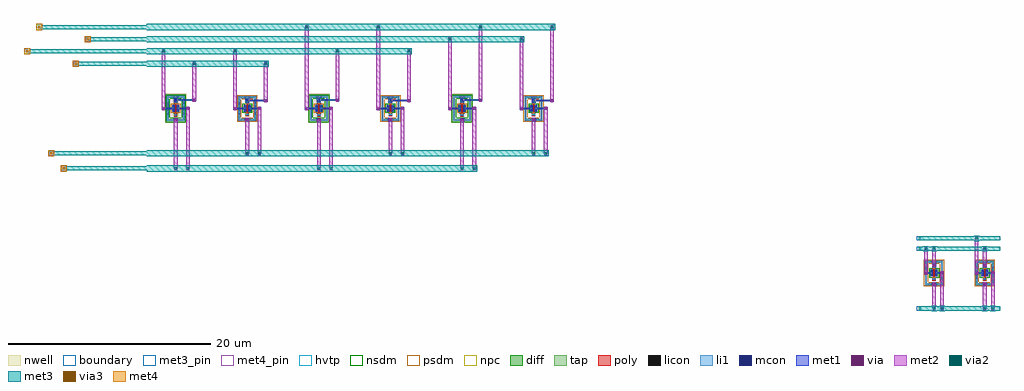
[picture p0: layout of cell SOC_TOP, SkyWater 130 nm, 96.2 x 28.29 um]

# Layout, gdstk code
import gdstk
lib = gdstk.Library(unit=1e-6, precision=1e-09)
def R(c, l, rs):  # rectangles x0, y0, x1, y1
    for r in rs: c.add(gdstk.rectangle(r[:2], r[2:], *l))
def A(c, l, x, y, w, h, nx, ny, dx, dy):  # array of equal rectangles
    R(c, l, [(x+i*dx, y+j*dy, x+i*dx+w, y+j*dy+h) for i in range(nx) for j in range(ny)])
def P(c, l, *ps):  # polygons
    for p in ps: c.add(gdstk.Polygon(p, *l))
nwell = (64, 20)
diff = (65, 20)
tap = (65, 44)
poly = (66, 20)
licon = (66, 44)
li1 = (67, 20)
mcon = (67, 44)
met1 = (68, 20)
via = (68, 44)
met2 = (69, 20)
via2 = (69, 44)
met3_pin = (70, 16)
met3 = (70, 20)
via3 = (70, 44)
met4_pin = (71, 16)
met4 = (71, 20)
hvtp = (78, 44)
nsdm = (93, 44)
psdm = (94, 20)
npc = (95, 20)
boundary = (235, 4)

analog_current_mirror = lib.new_cell('ANALOG_current_mirror')
R(analog_current_mirror, diff, [(-0.365,-0.325,0.365,0.325), (4.635,-0.325,5.365,0.325)])
R(analog_current_mirror, tap, [(-0.875,-1.195,0.875,-1.025), (4.125,-1.195,5.875,-1.025), (-0.875,-1.025,-0.705,1.025), (0.705,-1.025,0.875,1.025), (4.125,-1.025,4.295,1.025), (5.705,-1.025,5.875,1.025), (-0.875,1.025,0.875,1.195), (4.125,1.025,5.875,1.195)])
R(analog_current_mirror, poly, [(-0.165,-0.765,0.165,-0.435), (4.835,-0.765,5.165,-0.435), (-0.075,-0.435,0.075,0.435), (4.925,-0.435,5.075,0.435), (-0.165,0.435,0.165,0.765), (4.835,0.435,5.165,0.765)])
A(analog_current_mirror, licon, -0.875, -0.595, 0.17, 0.17, 1, 4, 0, 0.34)
A(analog_current_mirror, licon, 0.705, -0.595, 0.17, 0.17, 1, 4, 0, 0.34)
A(analog_current_mirror, licon, 4.125, -0.595, 0.17, 0.17, 1, 4, 0, 0.34)
A(analog_current_mirror, licon, 5.705, -0.595, 0.17, 0.17, 1, 4, 0, 0.34)
R(analog_current_mirror, licon, [(-0.255,-1.195,-0.085,-1.025), (0.085,-1.195,0.255,-1.025), (4.745,-1.195,4.915,-1.025), (5.085,-1.195,5.255,-1.025), (-0.085,-0.685,0.085,-0.515), (4.915,-0.685,5.085,-0.515), (-0.305,-0.255,-0.135,-0.085), (0.135,-0.255,0.305,-0.085), (4.695,-0.255,4.865,-0.085), (5.135,-0.255,5.305,-0.085), (-0.305,0.085,-0.135,0.255), (0.135,0.085,0.305,0.255), (4.695,0.085,4.865,0.255), (5.135,0.085,5.305,0.255), (-0.085,0.515,0.085,0.685), (4.915,0.515,5.085,0.685), (-0.255,1.025,-0.085,1.195), (0.085,1.025,0.255,1.195), (4.745,1.025,4.915,1.195), (5.085,1.025,5.255,1.195)])
R(analog_current_mirror, li1, [(-0.875,-1.195,0.875,-1.025), (4.125,-1.195,5.875,-1.025), (-0.875,-1.025,-0.705,1.025), (0.705,-1.025,0.875,1.025), (4.125,-1.025,4.295,1.025), (5.705,-1.025,5.875,1.025), (-0.165,-0.685,0.165,-0.515), (4.835,-0.685,5.165,-0.515), (-0.305,-0.345,-0.135,0.345), (0.135,-0.345,0.305,0.345), (4.695,-0.345,4.865,0.345), (5.135,-0.345,5.305,0.345), (-0.165,0.515,0.165,0.685), (-0.085,0.515,0.085,0.855), (4.835,0.515,5.165,0.685), (4.915,0.515,5.085,0.855), (-0.875,1.025,0.875,1.195), (4.125,1.025,5.875,1.195)])
R(analog_current_mirror, mcon, [(-0.085,-1.195,0.085,-1.025), (4.915,-1.195,5.085,-1.025), (-0.305,-0.265,-0.135,-0.095), (0.135,-0.265,0.305,-0.095), (4.695,-0.265,4.865,-0.095), (5.135,-0.265,5.305,-0.095), (-0.305,0.095,-0.135,0.265), (0.135,0.095,0.305,0.265), (4.695,0.095,4.865,0.265), (5.135,0.095,5.305,0.265), (-0.085,0.685,0.085,0.855), (4.915,0.685,5.085,0.855)])
R(analog_current_mirror, met1, [(-0.2,-1.31,0.2,-0.91), (4.8,-1.31,5.2,-0.91), (-0.18,-1.24,0.18,-0.98), (4.82,-1.24,5.18,-0.98), (-0.335,-0.325,-0.105,0.325), (0.105,-0.325,0.335,0.325), (4.665,-0.325,4.895,0.325), (5.105,-0.325,5.335,0.325), (-0.98,-0.13,-0.62,0.13), (0.62,-0.13,0.98,0.13), (4.02,-0.13,4.38,0.13), (5.62,-0.13,5.98,0.13), (-0.8,-0.085,-0.22,0.085), (0.22,-0.085,0.8,0.085), (4.2,-0.085,4.78,0.085), (5.22,-0.085,5.8,0.085), (-0.2,0.57,0.2,0.97), (4.8,0.57,5.2,0.97), (-0.18,0.64,0.18,0.9), (4.82,0.64,5.18,0.9)])
R(analog_current_mirror, via, [(-0.075,-1.185,0.075,-1.035), (4.925,-1.185,5.075,-1.035), (-0.875,-0.075,-0.725,0.075), (0.725,-0.075,0.875,0.075), (4.125,-0.075,4.275,0.075), (5.725,-0.075,5.875,0.075), (-0.075,0.695,0.075,0.845), (4.925,0.695,5.075,0.845)])
R(analog_current_mirror, met2, [(-0.14,-3.69,0.14,-3.31), (0.66,-3.69,0.94,-3.31), (4.86,-3.69,5.14,-3.31), (5.66,-3.69,5.94,-3.31), (-0.18,-3.5,0.18,-1.11), (0.62,-3.5,0.98,0), (4.82,-3.5,5.18,-1.11), (5.62,-3.5,5.98,0), (-0.13,-1.29,0.13,-0.93), (4.87,-1.29,5.13,-0.93), (-0.93,-0.18,-0.67,0.18), (0.67,-0.18,0.93,0.18), (4.07,-0.18,4.33,0.18), (5.67,-0.18,5.93,0.18), (-0.98,0,-0.62,2.4), (4.02,0,4.38,3.4), (-0.13,0.59,0.13,0.95), (4.87,0.59,5.13,0.95), (-0.18,0.77,0.18,2.4), (4.82,0.77,5.18,2.4), (-0.94,2.21,-0.66,2.59), (-0.14,2.21,0.14,2.59), (4.86,2.21,5.14,2.59), (4.06,3.21,4.34,3.59)])
R(analog_current_mirror, via2, [(-0.1,-3.6,0.1,-3.4), (0.7,-3.6,0.9,-3.4), (4.9,-3.6,5.1,-3.4), (5.7,-3.6,5.9,-3.4), (-0.9,2.3,-0.7,2.5), (-0.1,2.3,0.1,2.5), (4.9,2.3,5.1,2.5), (4.1,3.3,4.3,3.5)])
R(analog_current_mirror, met3_pin, [(-1.7,-3.7,-1.3,-3.3), (-1.7,2.2,-1.3,2.6), (-1.7,3.2,-1.3,3.6)])
R(analog_current_mirror, met3, [(-0.25,-3.75,0.25,-3.25), (0.55,-3.75,1.05,-3.25), (4.75,-3.75,5.25,-3.25), (5.55,-3.75,6.05,-3.25), (-1.5,-3.7,6.5,-3.3), (-1.05,2.15,-0.55,2.65), (-0.25,2.15,0.25,2.65), (4.75,2.15,5.25,2.65), (-1.5,2.2,6.5,2.6), (3.95,3.15,4.45,3.65), (-1.5,3.2,6.5,3.6)])
R(analog_current_mirror, nsdm, [(-0.49,-0.45,0.49,0.45), (4.51,-0.45,5.49,0.45)])
R(analog_current_mirror, psdm, [(-1,-1.32,1,-0.9), (4,-1.32,6,-0.9), (-1,-0.9,-0.58,0.9), (0.58,-0.9,1,0.9), (4,-0.9,4.42,0.9), (5.58,-0.9,6,0.9), (-1,0.9,1,1.32), (4,0.9,6,1.32)])
R(analog_current_mirror, npc, [(-0.185,-0.785,0.185,-0.415), (4.815,-0.785,5.185,-0.415), (-0.185,0.415,0.185,0.785), (4.815,0.415,5.185,0.785)])
R(analog_current_mirror, boundary, [(-0.79,-1.11,0.79,1.11), (4.21,-1.11,5.79,1.11)])
analog_current_mirror.add(gdstk.Label('VGND', (0,-1.11), layer=67, texttype=5))
analog_current_mirror.add(gdstk.Label('VGND', (0.22,0), layer=67, texttype=5))
analog_current_mirror.add(gdstk.Label('REF', (-0.22,0), layer=67, texttype=5))
analog_current_mirror.add(gdstk.Label('OUT', (4.78,0), layer=67, texttype=5))
analog_current_mirror.add(gdstk.Label('REF', (0,0.6), layer=67, texttype=5))
analog_current_mirror.add(gdstk.Label('VGND', (5.22,0), layer=67, texttype=5))
analog_current_mirror.add(gdstk.Label('VGND', (5,-1.11), layer=67, texttype=5))
analog_current_mirror.add(gdstk.Label('REF', (5,0.6), layer=67, texttype=5))
analog_current_mirror.add(gdstk.Label('REF', (-1.5,2.4), layer=70, texttype=5))
analog_current_mirror.add(gdstk.Label('OUT', (-1.5,3.4), layer=70, texttype=5))
analog_current_mirror.add(gdstk.Label('VGND', (-1.5,-3.5), layer=70, texttype=5))

digital_logic_inv = lib.new_cell('DIGITAL_logic_inv')
A(digital_logic_inv, nwell, 24.2, 14.8, 2.11, 2.84, 3, 1, 14.11, 0)
A(digital_logic_inv, diff, 24.89, 15.895, 0.73, 0.65, 6, 1, 7.055, 0)
A(digital_logic_inv, tap, 24.38, 14.98, 1.75, 0.17, 3, 2, 14.11, 2.31)
A(digital_logic_inv, tap, 31.435, 15.025, 1.75, 0.17, 3, 2, 14.11, 2.22)
R(digital_logic_inv, tap, [(24.38,15.15,24.55,17.29), (25.96,15.15,26.13,17.29), (38.49,15.15,38.66,17.29), (40.07,15.15,40.24,17.29), (52.6,15.15,52.77,17.29), (54.18,15.15,54.35,17.29), (31.435,15.195,31.605,17.245), (33.015,15.195,33.185,17.245), (45.545,15.195,45.715,17.245), (47.125,15.195,47.295,17.245), (59.655,15.195,59.825,17.245), (61.235,15.195,61.405,17.245)])
A(digital_logic_inv, poly, 25.09, 15.41, 0.33, 0.33, 3, 2, 14.11, 1.29)
A(digital_logic_inv, poly, 32.145, 15.455, 0.33, 0.33, 3, 2, 14.11, 1.2)
A(digital_logic_inv, poly, 25.18, 15.74, 0.15, 0.96, 3, 1, 14.11, 0)
A(digital_logic_inv, poly, 32.235, 15.785, 0.15, 0.87, 3, 1, 14.11, 0)
A(digital_logic_inv, licon, 25.17, 15.49, 0.17, 0.17, 3, 2, 14.11, 1.29)
A(digital_logic_inv, licon, 32.225, 15.535, 0.17, 0.17, 3, 2, 14.11, 1.2)
A(digital_logic_inv, licon, 24.38, 15.625, 0.17, 0.17, 1, 4, 0, 0.34)
A(digital_logic_inv, licon, 25.96, 15.625, 0.17, 0.17, 1, 4, 0, 0.34)
A(digital_logic_inv, licon, 31.435, 15.625, 0.17, 0.17, 1, 4, 0, 0.34)
A(digital_logic_inv, licon, 33.015, 15.625, 0.17, 0.17, 1, 4, 0, 0.34)
A(digital_logic_inv, licon, 38.49, 15.625, 0.17, 0.17, 1, 4, 0, 0.34)
A(digital_logic_inv, licon, 40.07, 15.625, 0.17, 0.17, 1, 4, 0, 0.34)
A(digital_logic_inv, licon, 45.545, 15.625, 0.17, 0.17, 1, 4, 0, 0.34)
A(digital_logic_inv, licon, 47.125, 15.625, 0.17, 0.17, 1, 4, 0, 0.34)
A(digital_logic_inv, licon, 52.6, 15.625, 0.17, 0.17, 1, 4, 0, 0.34)
A(digital_logic_inv, licon, 54.18, 15.625, 0.17, 0.17, 1, 4, 0, 0.34)
A(digital_logic_inv, licon, 59.655, 15.625, 0.17, 0.17, 1, 4, 0, 0.34)
A(digital_logic_inv, licon, 61.235, 15.625, 0.17, 0.17, 1, 4, 0, 0.34)
R(digital_logic_inv, licon, [(25,14.98,25.17,15.15), (25.34,14.98,25.51,15.15), (39.11,14.98,39.28,15.15), (39.45,14.98,39.62,15.15), (53.22,14.98,53.39,15.15), (53.56,14.98,53.73,15.15), (32.055,15.025,32.225,15.195), (32.395,15.025,32.565,15.195), (46.165,15.025,46.335,15.195), (46.505,15.025,46.675,15.195), (60.275,15.025,60.445,15.195), (60.615,15.025,60.785,15.195), (24.95,15.965,25.12,16.135), (25.39,15.965,25.56,16.135), (32.005,15.965,32.175,16.135), (32.445,15.965,32.615,16.135), (39.06,15.965,39.23,16.135), (39.5,15.965,39.67,16.135), (46.115,15.965,46.285,16.135), (46.555,15.965,46.725,16.135), (53.17,15.965,53.34,16.135), (53.61,15.965,53.78,16.135), (60.225,15.965,60.395,16.135), (60.665,15.965,60.835,16.135), (24.95,16.305,25.12,16.475), (25.39,16.305,25.56,16.475), (32.005,16.305,32.175,16.475), (32.445,16.305,32.615,16.475), (39.06,16.305,39.23,16.475), (39.5,16.305,39.67,16.475), (46.115,16.305,46.285,16.475), (46.555,16.305,46.725,16.475), (53.17,16.305,53.34,16.475), (53.61,16.305,53.78,16.475), (60.225,16.305,60.395,16.475), (60.665,16.305,60.835,16.475), (32.055,17.245,32.225,17.415), (32.395,17.245,32.565,17.415), (46.165,17.245,46.335,17.415), (46.505,17.245,46.675,17.415), (60.275,17.245,60.445,17.415), (60.615,17.245,60.785,17.415), (25,17.29,25.17,17.46), (25.34,17.29,25.51,17.46), (39.11,17.29,39.28,17.46), (39.45,17.29,39.62,17.46), (53.22,17.29,53.39,17.46), (53.56,17.29,53.73,17.46)])
A(digital_logic_inv, li1, 24.38, 14.98, 1.75, 0.17, 3, 2, 14.11, 2.31)
A(digital_logic_inv, li1, 31.435, 15.025, 1.75, 0.17, 3, 2, 14.11, 2.22)
A(digital_logic_inv, li1, 25.09, 15.49, 0.33, 0.17, 3, 2, 14.11, 1.29)
A(digital_logic_inv, li1, 32.145, 15.535, 0.33, 0.17, 3, 2, 14.11, 1.2)
A(digital_logic_inv, li1, 32.225, 16.735, 0.17, 0.34, 3, 1, 14.11, 0)
A(digital_logic_inv, li1, 25.17, 16.78, 0.17, 0.34, 3, 1, 14.11, 0)
R(digital_logic_inv, li1, [(24.38,15.15,24.55,17.29), (25.96,15.15,26.13,17.29), (38.49,15.15,38.66,17.29), (40.07,15.15,40.24,17.29), (52.6,15.15,52.77,17.29), (54.18,15.15,54.35,17.29), (31.435,15.195,31.605,17.245), (33.015,15.195,33.185,17.245), (45.545,15.195,45.715,17.245), (47.125,15.195,47.295,17.245), (59.655,15.195,59.825,17.245), (61.235,15.195,61.405,17.245), (24.95,15.875,25.12,16.565), (25.39,15.875,25.56,16.565), (32.005,15.875,32.175,16.565), (32.445,15.875,32.615,16.565), (39.06,15.875,39.23,16.565), (39.5,15.875,39.67,16.565), (46.115,15.875,46.285,16.565), (46.555,15.875,46.725,16.565), (53.17,15.875,53.34,16.565), (53.61,15.875,53.78,16.565), (60.225,15.875,60.395,16.565), (60.665,15.875,60.835,16.565)])
A(digital_logic_inv, mcon, 25.17, 14.98, 0.17, 0.17, 3, 2, 14.11, 1.97)
A(digital_logic_inv, mcon, 32.225, 15.025, 0.17, 0.17, 3, 2, 14.11, 1.88)
R(digital_logic_inv, mcon, [(24.95,15.955,25.12,16.125), (25.39,15.955,25.56,16.125), (32.005,15.955,32.175,16.125), (32.445,15.955,32.615,16.125), (39.06,15.955,39.23,16.125), (39.5,15.955,39.67,16.125), (46.115,15.955,46.285,16.125), (46.555,15.955,46.725,16.125), (53.17,15.955,53.34,16.125), (53.61,15.955,53.78,16.125), (60.225,15.955,60.395,16.125), (60.665,15.955,60.835,16.125), (24.95,16.315,25.12,16.485), (25.39,16.315,25.56,16.485), (32.005,16.315,32.175,16.485), (32.445,16.315,32.615,16.485), (39.06,16.315,39.23,16.485), (39.5,16.315,39.67,16.485), (46.115,16.315,46.285,16.485), (46.555,16.315,46.725,16.485), (53.17,16.315,53.34,16.485), (53.61,16.315,53.78,16.485), (60.225,16.315,60.395,16.485), (60.665,16.315,60.835,16.485)])
A(digital_logic_inv, met1, 25.055, 14.865, 0.4, 0.4, 3, 2, 14.11, 1.97)
A(digital_logic_inv, met1, 32.11, 14.91, 0.4, 0.4, 3, 2, 14.11, 1.88)
A(digital_logic_inv, met1, 25.075, 14.935, 0.36, 0.26, 3, 1, 14.11, 0)
A(digital_logic_inv, met1, 32.13, 14.98, 0.36, 0.26, 3, 1, 14.11, 0)
A(digital_logic_inv, met1, 33.95, 16.86, 0.36, 0.26, 3, 1, 14.11, 0)
A(digital_logic_inv, met1, 26.895, 16.905, 0.36, 0.26, 3, 1, 14.11, 0)
A(digital_logic_inv, met1, 32.31, 16.905, 1.82, 0.17, 3, 1, 14.11, 0)
A(digital_logic_inv, met1, 25.255, 16.95, 1.82, 0.17, 3, 1, 14.11, 0)
R(digital_logic_inv, met1, [(24.92,15.895,25.15,16.545), (25.36,15.895,25.59,16.545), (31.975,15.895,32.205,16.545), (32.415,15.895,32.645,16.545), (39.03,15.895,39.26,16.545), (39.47,15.895,39.7,16.545), (46.085,15.895,46.315,16.545), (46.525,15.895,46.755,16.545), (53.14,15.895,53.37,16.545), (53.58,15.895,53.81,16.545), (60.195,15.895,60.425,16.545), (60.635,15.895,60.865,16.545), (23.875,16.09,24.235,16.35), (26.275,16.09,26.635,16.35), (30.93,16.09,31.29,16.35), (33.33,16.09,33.69,16.35), (37.985,16.09,38.345,16.35), (40.385,16.09,40.745,16.35), (45.04,16.09,45.4,16.35), (47.44,16.09,47.8,16.35), (52.095,16.09,52.455,16.35), (54.495,16.09,54.855,16.35), (59.15,16.09,59.51,16.35), (61.55,16.09,61.91,16.35), (24.055,16.135,25.035,16.305), (25.475,16.135,26.455,16.305), (31.11,16.135,32.09,16.305), (32.53,16.135,33.51,16.305), (38.165,16.135,39.145,16.305), (39.585,16.135,40.565,16.305), (45.22,16.135,46.2,16.305), (46.64,16.135,47.62,16.305), (52.275,16.135,53.255,16.305), (53.695,16.135,54.675,16.305), (59.33,16.135,60.31,16.305), (60.75,16.135,61.73,16.305)])
P(digital_logic_inv, met1, [(60.53,15.025),(60.53,15.025),(60.53,15.195),(60.53,15.195)],
  [(32.31,15.025),(32.31,15.025),(32.31,15.195),(32.31,15.195)],
  [(53.475,14.98),(53.475,14.98),(53.475,15.15),(53.475,15.15)],
  [(39.365,14.98),(39.365,14.98),(39.365,15.15),(39.365,15.15)],
  [(25.255,14.98),(25.255,14.98),(25.255,15.15),(25.255,15.15)],
  [(46.42,15.025),(46.42,15.025),(46.42,15.195),(46.42,15.195)])
A(digital_logic_inv, via, 25.18, 14.99, 0.15, 0.15, 3, 1, 14.11, 0)
A(digital_logic_inv, via, 32.235, 15.035, 0.15, 0.15, 3, 1, 14.11, 0)
A(digital_logic_inv, via, 34.055, 16.915, 0.15, 0.15, 3, 1, 14.11, 0)
A(digital_logic_inv, via, 27, 16.96, 0.15, 0.15, 3, 1, 14.11, 0)
R(digital_logic_inv, via, [(23.98,16.145,24.13,16.295), (26.38,16.145,26.53,16.295), (31.035,16.145,31.185,16.295), (33.435,16.145,33.585,16.295), (38.09,16.145,38.24,16.295), (40.49,16.145,40.64,16.295), (45.145,16.145,45.295,16.295), (47.545,16.145,47.695,16.295), (52.2,16.145,52.35,16.295), (54.6,16.145,54.75,16.295), (59.255,16.145,59.405,16.295), (61.655,16.145,61.805,16.295)])
A(digital_logic_inv, met2, 25.075, 10.3, 0.36, 4.765, 3, 1, 14.11, 0)
A(digital_logic_inv, met2, 26.275, 10.3, 0.36, 5.92, 3, 1, 14.11, 0)
A(digital_logic_inv, met2, 32.13, 11.8, 0.36, 3.31, 3, 1, 14.11, 0)
A(digital_logic_inv, met2, 33.33, 11.8, 0.36, 4.42, 3, 1, 14.11, 0)
A(digital_logic_inv, met2, 25.125, 14.885, 0.26, 0.36, 3, 1, 14.11, 0)
A(digital_logic_inv, met2, 32.18, 14.93, 0.26, 0.36, 3, 1, 14.11, 0)
A(digital_logic_inv, met2, 34, 16.81, 0.26, 0.36, 3, 1, 14.11, 0)
A(digital_logic_inv, met2, 26.945, 16.855, 0.26, 0.36, 3, 1, 14.11, 0)
R(digital_logic_inv, met2, [(25.115,10.11,25.395,10.49), (26.315,10.11,26.595,10.49), (39.225,10.11,39.505,10.49), (40.425,10.11,40.705,10.49), (53.335,10.11,53.615,10.49), (54.535,10.11,54.815,10.49), (32.17,11.61,32.45,11.99), (33.37,11.61,33.65,11.99), (46.28,11.61,46.56,11.99), (47.48,11.61,47.76,11.99), (60.39,11.61,60.67,11.99), (61.59,11.61,61.87,11.99), (23.925,16.04,24.185,16.4), (26.325,16.04,26.585,16.4), (30.98,16.04,31.24,16.4), (33.38,16.04,33.64,16.4), (38.035,16.04,38.295,16.4), (40.435,16.04,40.695,16.4), (45.09,16.04,45.35,16.4), (47.49,16.04,47.75,16.4), (52.145,16.04,52.405,16.4), (54.545,16.04,54.805,16.4), (59.2,16.04,59.46,16.4), (61.6,16.04,61.86,16.4), (23.875,16.22,24.235,21.84), (30.93,16.22,31.29,21.84), (37.985,16.22,38.345,24.24), (45.04,16.22,45.4,24.24), (52.095,16.22,52.455,23.04), (59.15,16.22,59.51,23.04), (33.95,16.99,34.31,20.64), (48.06,16.99,48.42,21.84), (62.17,16.99,62.53,24.24), (26.895,17.035,27.255,20.64), (41.005,17.035,41.365,21.84), (55.115,17.035,55.475,24.24), (26.935,20.45,27.215,20.83), (33.99,20.45,34.27,20.83), (23.915,21.65,24.195,22.03), (30.97,21.65,31.25,22.03), (41.045,21.65,41.325,22.03), (48.1,21.65,48.38,22.03), (52.135,22.85,52.415,23.23), (59.19,22.85,59.47,23.23), (38.025,24.05,38.305,24.43), (45.08,24.05,45.36,24.43), (55.155,24.05,55.435,24.43), (62.21,24.05,62.49,24.43)])
R(digital_logic_inv, via2, [(25.155,10.2,25.355,10.4), (26.355,10.2,26.555,10.4), (39.265,10.2,39.465,10.4), (40.465,10.2,40.665,10.4), (53.375,10.2,53.575,10.4), (54.575,10.2,54.775,10.4), (32.21,11.7,32.41,11.9), (33.41,11.7,33.61,11.9), (46.32,11.7,46.52,11.9), (47.52,11.7,47.72,11.9), (60.43,11.7,60.63,11.9), (61.63,11.7,61.83,11.9), (26.975,20.54,27.175,20.74), (34.03,20.54,34.23,20.74), (23.955,21.74,24.155,21.94), (31.01,21.74,31.21,21.94), (41.085,21.74,41.285,21.94), (48.14,21.74,48.34,21.94), (52.175,22.94,52.375,23.14), (59.23,22.94,59.43,23.14), (38.065,24.14,38.265,24.34), (45.12,24.14,45.32,24.34), (55.195,24.14,55.395,24.34), (62.25,24.14,62.45,24.34)])
R(digital_logic_inv, met3, [(13.9,10,14.5,10.6), (22.4,10,54.975,10.6), (25.005,10.05,25.505,10.55), (26.205,10.05,26.705,10.55), (39.115,10.05,39.615,10.55), (40.315,10.05,40.815,10.55), (53.225,10.05,53.725,10.55), (54.425,10.05,54.925,10.55), (14.2,10.1,22.4,10.5), (12.7,11.5,13.3,12.1), (22.4,11.5,62.03,12.1), (32.06,11.55,32.56,12.05), (33.26,11.55,33.76,12.05), (46.17,11.55,46.67,12.05), (47.37,11.55,47.87,12.05), (60.28,11.55,60.78,12.05), (61.48,11.55,61.98,12.05), (13,11.6,22.4,12), (15.1,20.34,15.7,20.94), (22.4,20.34,34.43,20.94), (26.825,20.39,27.325,20.89), (33.88,20.39,34.38,20.89), (15.4,20.44,22.4,20.84), (10.3,21.54,10.9,22.14), (22.4,21.54,48.54,22.14), (23.805,21.59,24.305,22.09), (30.86,21.59,31.36,22.09), (40.935,21.59,41.435,22.09), (47.99,21.59,48.49,22.09), (10.6,21.64,22.4,22.04), (16.3,22.74,16.9,23.34), (22.4,22.74,59.63,23.34), (52.025,22.79,52.525,23.29), (59.08,22.79,59.58,23.29), (16.6,22.84,22.4,23.24), (11.5,23.94,12.1,24.54), (22.4,23.94,62.65,24.54), (37.915,23.99,38.415,24.49), (44.97,23.99,45.47,24.49), (55.045,23.99,55.545,24.49), (62.1,23.99,62.6,24.49), (11.8,24.04,22.4,24.44)])
R(digital_logic_inv, via3, [(14.1,10.2,14.3,10.4), (12.9,11.7,13.1,11.9), (15.3,20.54,15.5,20.74), (10.5,21.74,10.7,21.94), (16.5,22.94,16.7,23.14), (11.7,24.14,11.9,24.34)])
R(digital_logic_inv, met4_pin, [(13.95,10.05,14.45,10.55), (12.75,11.55,13.25,12.05), (15.15,20.39,15.65,20.89), (16.35,22.79,16.85,23.29)])
R(digital_logic_inv, met4, [(13.9,10,14.5,10.6), (13.95,10,14.45,10.6), (12.7,11.5,13.3,12.1), (12.75,11.5,13.25,12.1), (15.1,20.34,15.7,20.94), (15.15,20.34,15.65,20.94), (10.3,21.54,10.9,22.14), (10.35,21.54,10.85,22.14), (16.3,22.74,16.9,23.34), (16.35,22.74,16.85,23.34), (11.5,23.94,12.1,24.54), (11.55,23.94,12.05,24.54)])
A(digital_logic_inv, hvtp, 25, 15.715, 0.51, 1.01, 3, 1, 14.11, 0)
A(digital_logic_inv, nsdm, 24.255, 14.855, 2, 0.42, 3, 2, 14.11, 2.31)
A(digital_logic_inv, nsdm, 31.82, 15.77, 0.98, 0.9, 3, 1, 14.11, 0)
R(digital_logic_inv, nsdm, [(24.255,15.275,24.675,17.165), (25.835,15.275,26.255,17.165), (38.365,15.275,38.785,17.165), (39.945,15.275,40.365,17.165), (52.475,15.275,52.895,17.165), (54.055,15.275,54.475,17.165)])
A(digital_logic_inv, psdm, 31.31, 14.9, 2, 0.42, 3, 2, 14.11, 2.22)
A(digital_logic_inv, psdm, 24.765, 15.77, 0.98, 0.9, 3, 1, 14.11, 0)
R(digital_logic_inv, psdm, [(31.31,15.32,31.73,17.12), (32.89,15.32,33.31,17.12), (45.42,15.32,45.84,17.12), (47,15.32,47.42,17.12), (59.53,15.32,59.95,17.12), (61.11,15.32,61.53,17.12)])
A(digital_logic_inv, npc, 25.07, 15.39, 0.37, 0.37, 3, 2, 14.11, 1.29)
A(digital_logic_inv, npc, 32.125, 15.435, 0.37, 0.37, 3, 2, 14.11, 1.2)
A(digital_logic_inv, boundary, 24.465, 15.065, 1.58, 2.31, 3, 1, 14.11, 0)
A(digital_logic_inv, boundary, 31.52, 15.11, 1.58, 2.22, 3, 1, 14.11, 0)
digital_logic_inv.add(gdstk.Label('N_3', (46.42,16.82), layer=67, texttype=5))
digital_logic_inv.add(gdstk.Label('VGND', (60.75,16.22), layer=67, texttype=5))
digital_logic_inv.add(gdstk.Label('OUT_y_0__N', (46.2,16.22), layer=67, texttype=5))
digital_logic_inv.add(gdstk.Label('VPWR', (25.475,16.22), layer=67, texttype=5))
digital_logic_inv.add(gdstk.Label('VGND', (32.31,15.11), layer=67, texttype=5))
digital_logic_inv.add(gdstk.Label('N_3', (39.365,16.865), layer=67, texttype=5))
digital_logic_inv.add(gdstk.Label('VPWR', (53.695,16.22), layer=67, texttype=5))
digital_logic_inv.add(gdstk.Label('N_3', (32.09,16.22), layer=67, texttype=5))
digital_logic_inv.add(gdstk.Label('VPWR', (25.255,15.065), layer=67, texttype=5))
digital_logic_inv.add(gdstk.Label('VGND', (46.42,15.11), layer=67, texttype=5))
digital_logic_inv.add(gdstk.Label('N_3', (25.035,16.22), layer=67, texttype=5))
digital_logic_inv.add(gdstk.Label('VGND', (60.53,15.11), layer=67, texttype=5))
digital_logic_inv.add(gdstk.Label('y', (53.255,16.22), layer=67, texttype=5))
digital_logic_inv.add(gdstk.Label('VGND', (46.64,16.22), layer=67, texttype=5))
digital_logic_inv.add(gdstk.Label('VPWR', (39.585,16.22), layer=67, texttype=5))
digital_logic_inv.add(gdstk.Label('a', (25.255,16.865), layer=67, texttype=5))
digital_logic_inv.add(gdstk.Label('OUT_y_0__N', (53.475,16.865), layer=67, texttype=5))
digital_logic_inv.add(gdstk.Label('VGND', (32.53,16.22), layer=67, texttype=5))
digital_logic_inv.add(gdstk.Label('VPWR', (39.365,15.065), layer=67, texttype=5))
digital_logic_inv.add(gdstk.Label('OUT_y_0__N', (39.145,16.22), layer=67, texttype=5))
digital_logic_inv.add(gdstk.Label('OUT_y_0__N', (60.53,16.82), layer=67, texttype=5))
digital_logic_inv.add(gdstk.Label('VPWR', (53.475,15.065), layer=67, texttype=5))
digital_logic_inv.add(gdstk.Label('y', (60.31,16.22), layer=67, texttype=5))
digital_logic_inv.add(gdstk.Label('a', (32.31,16.82), layer=67, texttype=5))
digital_logic_inv.add(gdstk.Label('VGND', (13,11.8), layer=71, texttype=5))
digital_logic_inv.add(gdstk.Label('VPWR', (14.2,10.3), layer=71, texttype=5))
digital_logic_inv.add(gdstk.Label('a', (15.4,20.64), layer=71, texttype=5))
digital_logic_inv.add(gdstk.Label('y', (16.6,23.04), layer=71, texttype=5))

soc_top = lib.new_cell('SOC_TOP')
soc_top.add(gdstk.Reference(analog_current_mirror, (200,100)))
soc_top.add(gdstk.Reference(digital_logic_inv, (100,100)))

lib.write_gds('SOC_TOP.gds')
